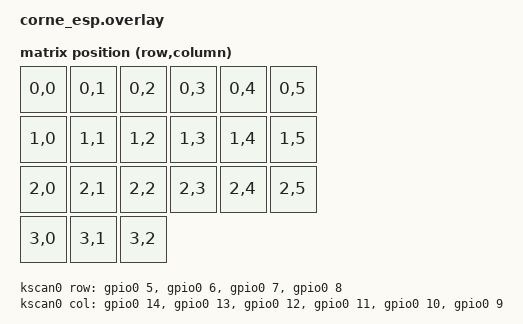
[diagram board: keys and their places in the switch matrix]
/*
 * Copyright (c) 2020 Pete Johanson
 *
 * SPDX-License-Identifier: MIT
 */

#include <dt-bindings/zmk/matrix_transform.h>

/ {
    chosen {
        zmk,kscan = &kscan0;
        zmk,matrix-transform = &default_transform;
    };

    default_transform: keymap_transform_0 {
        compatible = "zmk,matrix-transform";
        columns = <6>;
        rows = <4>;
// | SW1  | SW2  | SW3  | SW4  | SW5  | SW6  |   | SW6  | SW5  | SW4  | SW3  | SW2  | SW1  |
// | SW7  | SW8  | SW9  | SW10 | SW11 | SW12 |   | SW12 | SW11 | SW10 | SW9  | SW8  | SW7  |
// | SW13 | SW14 | SW15 | SW16 | SW17 | SW18 |   | SW18 | SW17 | SW16 | SW15 | SW14 | SW13 |
//                      | SW19 | SW20 | SW21 |   | SW21 | SW20 | SW19 |
        map = <
RC(0,0) RC(0,1) RC(0,2) RC(0,3) RC(0,4) RC(0,5)
RC(1,0) RC(1,1) RC(1,2) RC(1,3) RC(1,4) RC(1,5)
RC(2,0) RC(2,1) RC(2,2) RC(2,3) RC(2,4) RC(2,5)
RC(3,0) RC(3,1) RC(3,2)
        >;
    };

    kscan0: kscan {
        compatible = "zmk,kscan-gpio-matrix";

        diode-direction = "col2row";
        row-gpios
            = <&gpio0 5 (GPIO_ACTIVE_HIGH | GPIO_PULL_DOWN)>
            , <&gpio0 6 (GPIO_ACTIVE_HIGH | GPIO_PULL_DOWN)>
            , <&gpio0 7 (GPIO_ACTIVE_HIGH | GPIO_PULL_DOWN)>
            , <&gpio0 8 (GPIO_ACTIVE_HIGH | GPIO_PULL_DOWN)>
            ;
        col-gpios
            = <&gpio0 14 GPIO_ACTIVE_HIGH>
            , <&gpio0 13 GPIO_ACTIVE_HIGH>
            , <&gpio0 12 GPIO_ACTIVE_HIGH>
            , <&gpio0 11 GPIO_ACTIVE_HIGH>
            , <&gpio0 10 GPIO_ACTIVE_HIGH>
            , <&gpio0 9 GPIO_ACTIVE_HIGH>
            ;
    };

    // TODO: per-key RGB node(s)?
};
